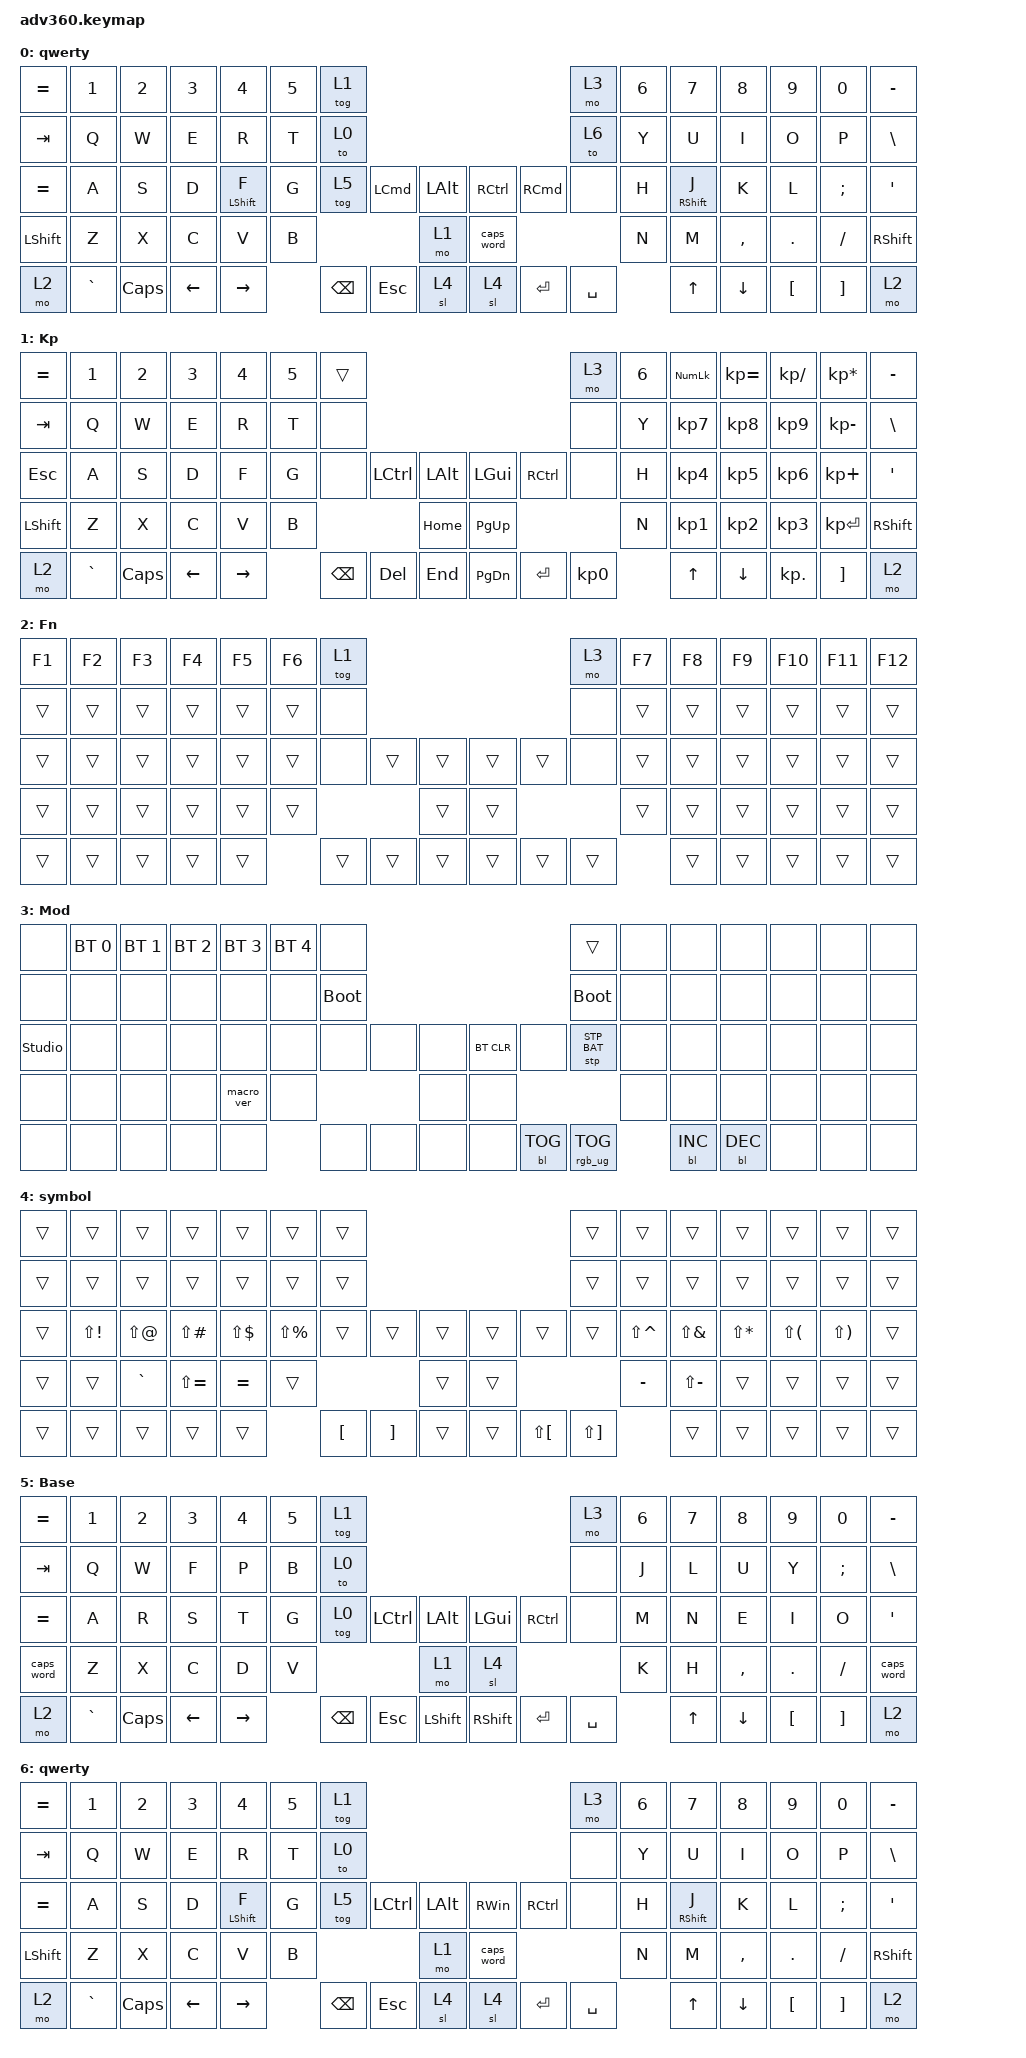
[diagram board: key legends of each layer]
#include <dt-bindings/zmk/stp.h>
#include <behaviors.dtsi>
#include <dt-bindings/zmk/backlight.h>
#include <dt-bindings/zmk/bt.h>
#include <dt-bindings/zmk/keys.h>
#include <dt-bindings/zmk/rgb.h>

/ {
    behaviors {
        #include "macros.dtsi"
      #include "version.dtsi"

        hm: homerow_mods {
            compatible = "zmk,behavior-hold-tap";
            label = "HOMEROW_MODS";
            #binding-cells = <2>;
            tapping-term-ms = <200>;
            quick_tap_ms = <175>;
            flavor = "tap-preferred";
            bindings = <&kp>, <&kp>;
        };
    };

    keymap {
        compatible = "zmk,keymap";

        qwerty {
            display-name = "qwerty";
            bindings = <
&kp EQUAL  &kp N1     &kp N2    &kp N3    &kp N4       &kp N5  &tog 1                                                                          &mo 3      &kp N6  &kp N7       &kp N8     &kp N9    &kp N0         &kp MINUS
&kp TAB    &kp Q      &kp W     &kp E     &kp R        &kp T   &to 0                                                                           &to 6      &kp Y   &kp U        &kp I      &kp O     &kp P          &kp BSLH
&kp EQUAL  &kp A      &kp S     &kp D     &hm LSHFT F  &kp G   &tog 5    &kp LEFT_COMMAND  &kp LALT      &kp RIGHT_CONTROL  &kp RIGHT_COMMAND  &none      &kp H   &hm RSHFT J  &kp K      &kp L     &kp SEMICOLON  &kp SQT
&kp LSHFT  &kp Z      &kp X     &kp C     &kp V        &kp B                               &mo 1         &caps_word                                       &kp N   &kp M        &kp COMMA  &kp DOT   &kp FSLH       &kp RSHFT
&mo 2      &kp GRAVE  &kp CAPS  &kp LEFT  &kp RIGHT            &kp BSPC  &kp ESCAPE        &sl 4         &sl 4              &kp ENTER          &kp SPACE          &kp UP       &kp DOWN   &kp LBKT  &kp RBKT       &mo 2
            >;
        };

        keypad {
            display-name = "Kp";
            bindings = <
&kp EQUAL  &kp N1     &kp N2    &kp N3    &kp N4     &kp N5  &trans                                                   &mo 3      &kp N6  &kp KP_NUM  &kp KP_EQUAL  &kp KP_DIVIDE  &kp KP_MULTIPLY  &kp MINUS
&kp TAB    &kp Q      &kp W     &kp E     &kp R      &kp T   &none                                                    &none      &kp Y   &kp KP_N7   &kp KP_N8     &kp KP_N9      &kp KP_MINUS     &kp BSLH
&kp ESC    &kp A      &kp S     &kp D     &kp F      &kp G   &none     &kp LCTRL  &kp LALT      &kp LGUI   &kp RCTRL  &none      &kp H   &kp KP_N4   &kp KP_N5     &kp KP_N6      &kp KP_PLUS      &kp SQT
&kp LSHFT  &kp Z      &kp X     &kp C     &kp V      &kp B                        &kp HOME      &kp PG_UP                        &kp N   &kp KP_N1   &kp KP_N2     &kp KP_N3      &kp KP_ENTER     &kp RSHFT
&mo 2      &kp GRAVE  &kp CAPS  &kp LEFT  &kp RIGHT          &kp BSPC  &kp DEL    &kp END       &kp PG_DN  &kp ENTER  &kp KP_N0          &kp UP      &kp DOWN      &kp KP_DOT     &kp RBKT         &mo 2
            >;
        };

        fn {
            display-name = "Fn";
            bindings = <
&kp F1  &kp F2  &kp F3  &kp F4  &kp F5  &kp F6  &tog 1                                      &mo 3   &kp F7  &kp F8  &kp F9  &kp F10  &kp F11  &kp F12
&trans  &trans  &trans  &trans  &trans  &trans  &none                                       &none   &trans  &trans  &trans  &trans   &trans   &trans
&trans  &trans  &trans  &trans  &trans  &trans  &none   &trans  &trans      &trans  &trans  &none   &trans  &trans  &trans  &trans   &trans   &trans
&trans  &trans  &trans  &trans  &trans  &trans                  &trans      &trans                  &trans  &trans  &trans  &trans   &trans   &trans
&trans  &trans  &trans  &trans  &trans          &trans  &trans  &trans      &trans  &trans  &trans          &trans  &trans  &trans   &trans   &trans
            >;
        };

        mod {
            display-name = "Mod";
            bindings = <
&none           &bt BT_SEL 0  &bt BT_SEL 1  &bt BT_SEL 2  &bt BT_SEL 3  &bt BT_SEL 4  &none                                                  &trans           &none  &none       &none       &none  &none  &none
&none           &none         &none         &none         &none         &none         &bootloader                                            &bootloader      &none  &none       &none       &none  &none  &none
&studio_unlock  &none         &none         &none         &none         &none         &none        &none  &none      &bt BT_CLR  &none       &stp STP_BAT     &none  &none       &none       &none  &none  &none
&none           &none         &none         &none         &macro_ver    &none                             &none      &none                                    &none  &none       &none       &none  &none  &none
&none           &none         &none         &none         &none                       &none        &none  &none      &none       &bl BL_TOG  &rgb_ug RGB_TOG         &bl BL_INC  &bl BL_DEC  &none  &none  &none
            >;
        };

        symbol {
            bindings = <
&trans  &trans        &trans      &trans         &trans        &trans         &trans                                                                         &trans                 &trans         &trans         &trans        &trans        &trans        &trans
&trans  &trans        &trans      &trans         &trans        &trans         &trans                                                                         &trans                 &trans         &trans         &trans        &trans        &trans        &trans
&trans  &kp LS(EXCL)  &kp LS(AT)  &kp LS(POUND)  &kp LS(DLLR)  &kp LS(PRCNT)  &trans            &trans             &trans      &trans  &trans                &trans                 &kp LS(CARET)  &kp LS(AMPS)   &kp LS(STAR)  &kp LS(LPAR)  &kp LS(RPAR)  &trans
&trans  &trans        &kp GRAVE   &kp LS(EQUAL)  &kp EQUAL     &trans                                              &trans      &trans                                               &kp MINUS      &kp LS(MINUS)  &trans        &trans        &trans        &trans
&trans  &trans        &trans      &trans         &trans                       &kp LEFT_BRACKET  &kp RIGHT_BRACKET  &trans      &trans  &kp LS(LEFT_BRACKET)  &kp LS(RIGHT_BRACKET)                 &trans         &trans        &trans        &trans        &trans
            >;
        };

        colemak-dh {
            display-name = "Base";
            bindings = <
&kp EQUAL   &kp N1     &kp N2    &kp N3    &kp N4     &kp N5  &tog 1                                                      &mo 3      &kp N6  &kp N7  &kp N8     &kp N9    &kp N0         &kp MINUS
&kp TAB     &kp Q      &kp W     &kp F     &kp P      &kp B   &to 0                                                       &none      &kp J   &kp L   &kp U      &kp Y     &kp SEMICOLON  &kp BSLH
&kp EQUAL   &kp A      &kp R     &kp S     &kp T      &kp G   &tog 0    &kp LCTRL   &kp LALT        &kp LGUI   &kp RCTRL  &none      &kp M   &kp N   &kp E      &kp I     &kp O          &kp SQT
&caps_word  &kp Z      &kp X     &kp C     &kp D      &kp V                         &mo 1           &sl 4                            &kp K   &kp H   &kp COMMA  &kp DOT   &kp FSLH       &caps_word
&mo 2       &kp GRAVE  &kp CAPS  &kp LEFT  &kp RIGHT          &kp BSPC  &kp ESCAPE  &kp LSHIFT      &kp RSHFT  &kp ENTER  &kp SPACE          &kp UP  &kp DOWN   &kp LBKT  &kp RBKT       &mo 2
            >;
        };

        mac {
            display-name = "qwerty";
            bindings = <
&kp EQUAL  &kp N1     &kp N2    &kp N3    &kp N4       &kp N5  &tog 1                                                                      &mo 3      &kp N6  &kp N7       &kp N8     &kp N9    &kp N0         &kp MINUS
&kp TAB    &kp Q      &kp W     &kp E     &kp R        &kp T   &to 0                                                                       &none      &kp Y   &kp U        &kp I      &kp O     &kp P          &kp BSLH
&kp EQUAL  &kp A      &kp S     &kp D     &hm LSHFT F  &kp G   &tog 5    &kp LEFT_CONTROL  &kp LALT      &kp RIGHT_WIN  &kp RIGHT_CONTROL  &none      &kp H   &hm RSHFT J  &kp K      &kp L     &kp SEMICOLON  &kp SQT
&kp LSHFT  &kp Z      &kp X     &kp C     &kp V        &kp B                               &mo 1         &caps_word                                   &kp N   &kp M        &kp COMMA  &kp DOT   &kp FSLH       &kp RSHFT
&mo 2      &kp GRAVE  &kp CAPS  &kp LEFT  &kp RIGHT            &kp BSPC  &kp ESCAPE        &sl 4         &sl 4          &kp ENTER          &kp SPACE          &kp UP       &kp DOWN   &kp LBKT  &kp RBKT       &mo 2
            >;
        };
    };
};
